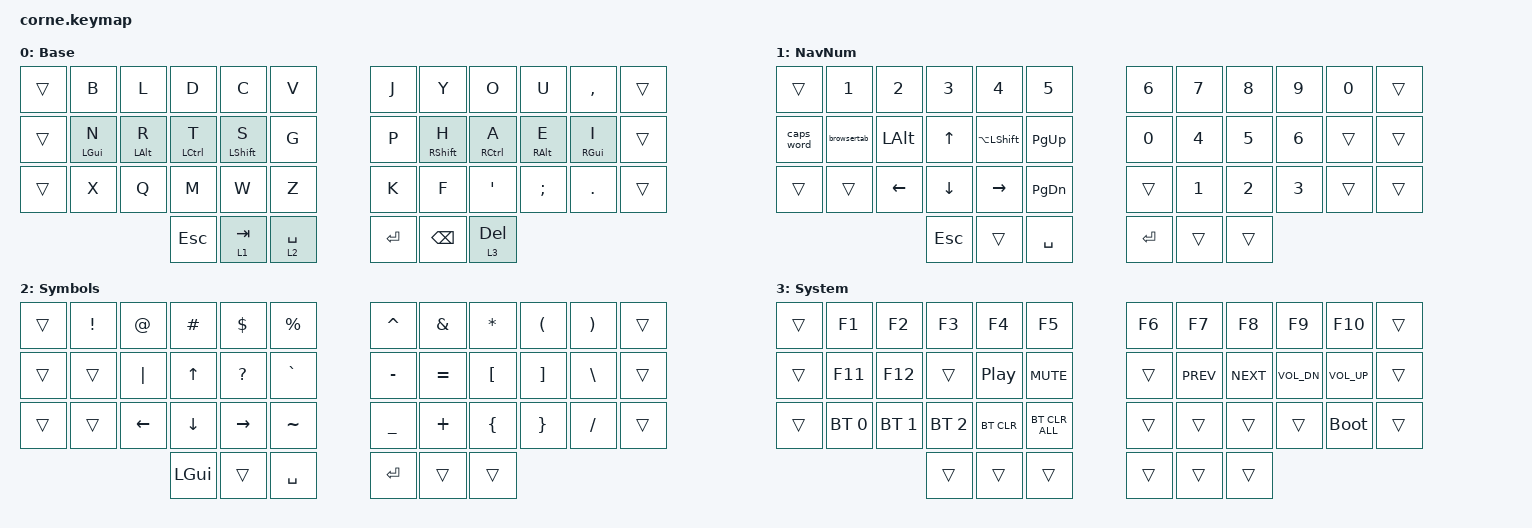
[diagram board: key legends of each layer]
#include <behaviors.dtsi>
#include <dt-bindings/zmk/bt.h>
#include <dt-bindings/zmk/keys.h>

#define DEF 0
#define NAV 1
#define SYM 2
#define ADJ 3

/ {
    behaviors {
        hm: homerow_mods {
            compatible = "zmk,behavior-hold-tap";
            label = "HOMEROW_MODS";
            #binding-cells = <2>;
            tapping-term-ms = <200>;
            quick_tap_ms = <0>;
            flavor = "tap-preferred";
            bindings = <&kp>, <&kp>;

            quick-tap-ms = <180>;
            global-quick-tap;
        };

        para: para {
            compatible = "zmk,behavior-tap-dance";
            label = "PARA";
            #binding-cells = <0>;
            bindings = <&kp LEFT_PARENTHESIS>, <&kp RIGHT_PARENTHESIS>;
        };

        caps: caps {
            compatible = "zmk,behavior-caps-word";
            label = "CAPS";
            #binding-cells = <0>;
            continue-list = <MINUS BACKSPACE>;
        };

        paraless: paraless {
            compatible = "zmk,behavior-mod-morph";
            label = "PARALESS";
            bindings = <&kp LEFT_PARENTHESIS>, <&kp LESS_THAN>;

            #binding-cells = <0>;
            mods = <(MOD_LSFT)>;
        };

        paragreat: paragreat {
            compatible = "zmk,behavior-mod-morph";
            label = "PARAGREAT";
            bindings = <&kp RIGHT_PARENTHESIS>, <&kp GREATER_THAN>;

            #binding-cells = <0>;
            mods = <(MOD_LSFT)>;
        };
    };

    macros {
        browsertab: browsertab {
            compatible = "zmk,behavior-macro";
            #binding-cells = <0>;
            bindings =
                <&macro_press>,
                <&kp LCTRL>,
                <&macro_tap>,
                <&kp TAB>,
                <&macro_release>,
                <&kp LCTRL>;
        };

        adob: adob {
            compatible = "zmk,behavior-macro";
            #binding-cells = <0>;
            bindings =
                <&macro_press>,
                <&kp LS(RIGHT_ALT)>,
                <&macro_tap>,
                <&kp KP_NUMBER_1 &kp KP_NUMBER_3 &kp KP_NUMBER_2>,
                <&macro_release>,
                <&kp RIGHT_ALT>;

            label = "ADOB";
        };
    };

    combos {
        compatible = "zmk,combos";

        escape {
            bindings = <&kp ESCAPE>;
            key-positions = <13 29>;
        };

        delete {
            bindings = <&kp DELETE>;
            key-positions = <15 21>;
        };

        perc {
            bindings = <&kp PERCENT>;
            key-positions = <5 17>;
        };

        equal {
            bindings = <&kp EQUAL>;
            key-positions = <28 16>;
        };

        dollar {
            bindings = <&kp DOLLAR>;
            key-positions = <4 16>;
        };

        pound {
            bindings = <&kp POUND>;
            key-positions = <3 15>;
        };

        at {
            bindings = <&kp AT>;
            key-positions = <2 14>;
        };

        backslash {
            bindings = <&kp BACKSLASH>;
            key-positions = <26 14>;
        };

        copy {
            bindings = <&kp K_COPY>;
            key-positions = <28 27>;
        };

        paste {
            bindings = <&kp K_PASTE>;
            key-positions = <26 27>;
        };

        star {
            bindings = <&kp STAR>;
            key-positions = <8 20>;
        };

        slash {
            bindings = <&kp SLASH>;
            key-positions = <32 20>;
        };

        plus {
            bindings = <&kp PLUS>;
            key-positions = <7 19>;
        };

        minus {
            bindings = <&kp KP_MINUS>;
            key-positions = <31 19>;
        };

        underscore {
            bindings = <&kp UNDER>;
            key-positions = <30 18>;
        };

        leftbrack {
            bindings = <&kp LEFT_BRACKET>;
            key-positions = <31 32>;
        };

        rightbrack {
            bindings = <&kp RIGHT_BRACKET>;
            key-positions = <33 32>;
        };
    };

    //

    keymap {
        compatible = "zmk,keymap";

        DEF {
            display-name = "Base";

            // -----------------------------------------------------------------------------------------
            // |  Q  |  W  |  E  |  R  |  T  |   |  Y  |  U   |  I  |  O  |  P  |
            // |  A  |  S  |  D  |  F  |  G  |   |  H  |  J   |  K  |  L  |  ;  |
            // |  Z  |  X  |  C  |  V  |  B  |   |  N  |  M   |  ,  |  .  |  /  |
            // | GUI | CTRL | SHFT | LWR | SPC |   | ENT | RSE  | BKSP | ALT | ESC |

            bindings = <
&trans  &kp B           &kp L           &kp D        &kp C             &kp V          &kp J    &kp Y              &kp O             &kp U            &kp COMMA        &trans
&trans  &hm LEFT_GUI N  &hm LEFT_ALT R  &hm LCTRL T  &hm LEFT_SHIFT S  &kp G          &kp P    &hm RIGHT_SHIFT H  &hm RCTRL A       &hm RIGHT_ALT E  &hm RIGHT_GUI I  &trans
&trans  &kp X           &kp Q           &kp M        &kp W             &kp Z          &kp K    &kp F              &kp SINGLE_QUOTE  &kp SEMI         &kp PERIOD       &trans
                                        &kp ESCAPE   &lt 1 TAB         &lt 2 SPACE    &kp RET  &kp BACKSPACE      &lt 3 DELETE
            >;
        };

        NAV {
            display-name = "NavNum";

            // -----------------------------------------------------------------------------------------
            // |  TAB |  1  |  2  |  3  |  4  |  5  |   |  6  |  7  |  8  |  9  |  0  | BKSP |
            // | BTCLR| BT1 | BT2 | BT3 | BT4 | BT5 |   | LFT | DWN |  UP | RGT |     |      |
            // | SHFT |     |     |     |     |     |   |     |     |     |     |     |      |
            // | GUI | CTRL | SHFT | LWR | SPC |   | ENT | RSE  | BKSP | ALT | ESC |

            bindings = <
&trans      &kp N1       &kp N2        &kp N3        &kp N4              &kp N5           &kp N6   &kp N7  &kp N8  &kp N9  &kp N0  &trans
&caps_word  &browsertab  &kp LEFT_ALT  &kp UP_ARROW  &kp LA(LEFT_SHIFT)  &kp PAGE_UP      &kp N0   &kp N4  &kp N5  &kp N6  &trans  &trans
&trans      &trans       &kp LEFT      &kp DOWN      &kp RIGHT_ARROW     &kp PAGE_DOWN    &trans   &kp N1  &kp N2  &kp N3  &trans  &trans
                                       &kp ESCAPE    &trans              &kp SPACE        &kp RET  &trans  &trans
            >;
        };

        SYM {
            display-name = "Symbols";

            // -----------------------------------------------------------------------------------------
            // |  TAB |  !  |  @  |  #  |  $  |  %  |   |  ^  |  &  |  *  |  (  |  )  | BKSP |
            // | CTRL |     |     |     |     |     |   |  -  |  =  |  [  |  ]  |  \  |  `   |
            // | SHFT |     |     |     |     |     |   |  _  |  +  |  {  |  }  | "|" |  ~   |
            //                    | GUI |     | SPC |   | ENT |     | ALT |

            bindings = <
&trans  &kp EXCL  &kp AT          &kp HASH        &kp DLLR         &kp PRCNT    &kp CARET  &kp AMPS   &kp ASTRK  &kp LEFT_PARENTHESIS  &kp RPAR   &trans
&trans  &trans    &kp PIPE        &kp UP_ARROW    &kp QUESTION     &kp GRAVE    &kp MINUS  &kp EQUAL  &kp LBKT   &kp RBKT              &kp BSLH   &trans
&trans  &trans    &kp LEFT_ARROW  &kp DOWN_ARROW  &kp RIGHT_ARROW  &kp TILDE    &kp UNDER  &kp PLUS   &kp LBRC   &kp RBRC              &kp SLASH  &trans
                                  &kp LGUI        &trans           &kp SPACE    &kp RET    &trans     &trans
            >;
        };

        ADJ {
            display-name = "System";
            bindings = <
&trans  &kp F1        &kp F2        &kp F3        &kp F4            &kp F5            &kp F6  &kp F7      &kp F8      &kp F9        &kp F10          &trans
&trans  &kp F11       &kp F12       &trans        &kp C_PLAY_PAUSE  &kp C_MUTE        &trans  &kp C_PREV  &kp C_NEXT  &kp C_VOL_DN  &kp C_VOLUME_UP  &trans
&trans  &bt BT_SEL 0  &bt BT_SEL 1  &bt BT_SEL 2  &bt BT_CLR        &bt BT_CLR_ALL    &trans  &trans      &trans      &trans        &bootloader      &trans
                                    &trans        &trans            &trans            &trans  &trans      &trans
            >;
        };
    };

    conditional_layers { compatible = "zmk,conditional-layers"; };
};
